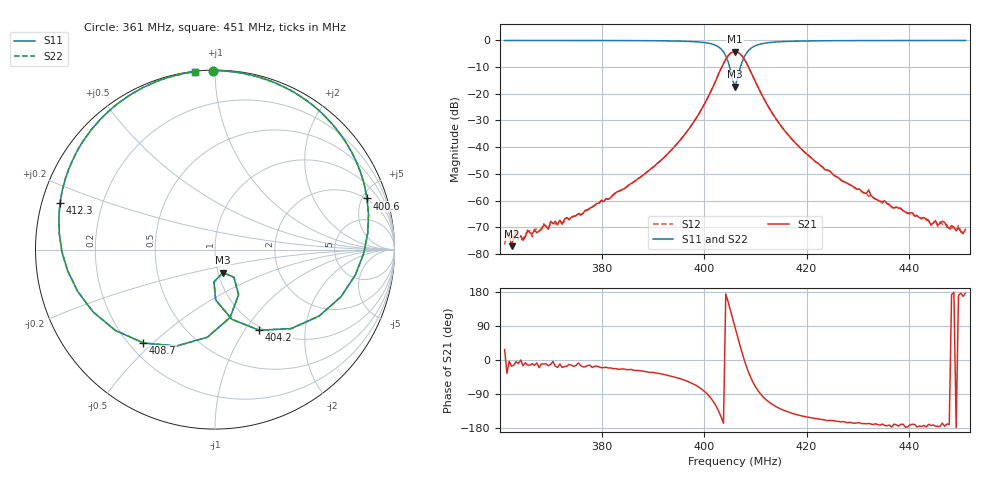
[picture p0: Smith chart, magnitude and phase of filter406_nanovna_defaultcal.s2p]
# MHz S MA R 50
!  freq  S11  S21  S12  S22
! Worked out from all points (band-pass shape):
!   201 points, 361 MHz to 451 MHz, reference 50 ohm
!   highest |S21| = -4.16 dB at 406 MHz (marker M1); lowest = -77.1 dB at 362.4 MHz (marker M2)
!   |S21| within 3 dB of the highest: 404.2 MHz to 407.8 MHz (3.672 MHz wide, 0.904 % of centre)
!   lowest |S11| = -17.3 dB at 406 MHz (marker M3), VSWR 1.31, Z = 52.7 - j13.8 ohm
!   |S11| at or under -10 dB: 405 MHz to 407.1 MHz (2.107 MHz wide, 0.519 % of centre)
!   |S22| runs from -17.3 to 0.0 dB; largest |S21 - S12| = 0.00092
!   S11 on the Smith chart (normalised r, x): 361 MHz: 0.00, +0.99; 400.6 MHz: 1.93, +5.45; 404.2 MHz: 0.96, -1.17; 408.7 MHz: 0.26, -0.47; 412.3 MHz: 0.05, +0.15; 451 MHz: 0.00, +0.90
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361  0.9963 90.7  0.00021 27.4  0.00015 21.6  0.9968 90.8
361.9  0.9972 90.4  0.00024 -3.3  0.00025 -1.3  0.9971 90.4
362.35  0.9977 90.2  0.00014 -16.3  0.00024 -17.8  0.9975 90.2
362.8  0.9967 90.0  0.00021 -13.7  0.00018 -12.0  0.9968 89.9
363.25  0.9967 89.7  0.00026 -4.3  0.00029 -0.6  0.9969 89.7
363.7  0.9974 89.5  0.00019 -9.3  0.00018 -13.1  0.9976 89.5
376.3  0.9951 82.9  0.00057 -18.2  0.00058 -20.5  0.995 82.9
391.15  0.983 65.6  0.00525 -35.6  0.00528 -35.9  0.983 65.6
397  0.9567 46.6  0.02201 -57.9  0.02202 -58.0  0.9565 46.6
400.6  0.8934 18.6  0.08168 -90.2  0.0817 -90.2  0.8938 18.6
402.4  0.7947 -10.2  0.1906 -123.8  0.1906 -123.8  0.7943 -10.3
404.2  0.5123 -61.3  0.4436 174.2  0.4436 174.2  0.5123 -61.2
405.1  0.2811 -89.2  0.5732 131.7  0.5733 131.6  0.2812 -89.2
406  0.1358 -71.2  0.6196 86.3  0.6196 86.4  0.1358 -71.3
407.35  0.3871 -77.5  0.5146 20.7  0.5149 20.7  0.3874 -77.4
408.7  0.6553 -127.5  0.3083 -34.4  0.3084 -34.4  0.6551 -127.5
410.05  0.7998 -163.0  0.164 -71.7  0.164 -71.7  0.7995 -163.1
412.3  0.902 163.2  0.06223 -107.4  0.06224 -107.3  0.9019 163.2
415.9  0.9557 137.9  0.0192 -134.7  0.01925 -134.8  0.9558 137.8
421.3  0.9798 120.9  0.00583 -153.6  0.00581 -153.3  0.9798 121.0
436.15  0.995 103.7  0.00082 -171.6  0.00086 -173.0  0.9953 103.6
451  0.998 96.3  0.00029 176.1  0.00026 171.6  0.9981 96.3
